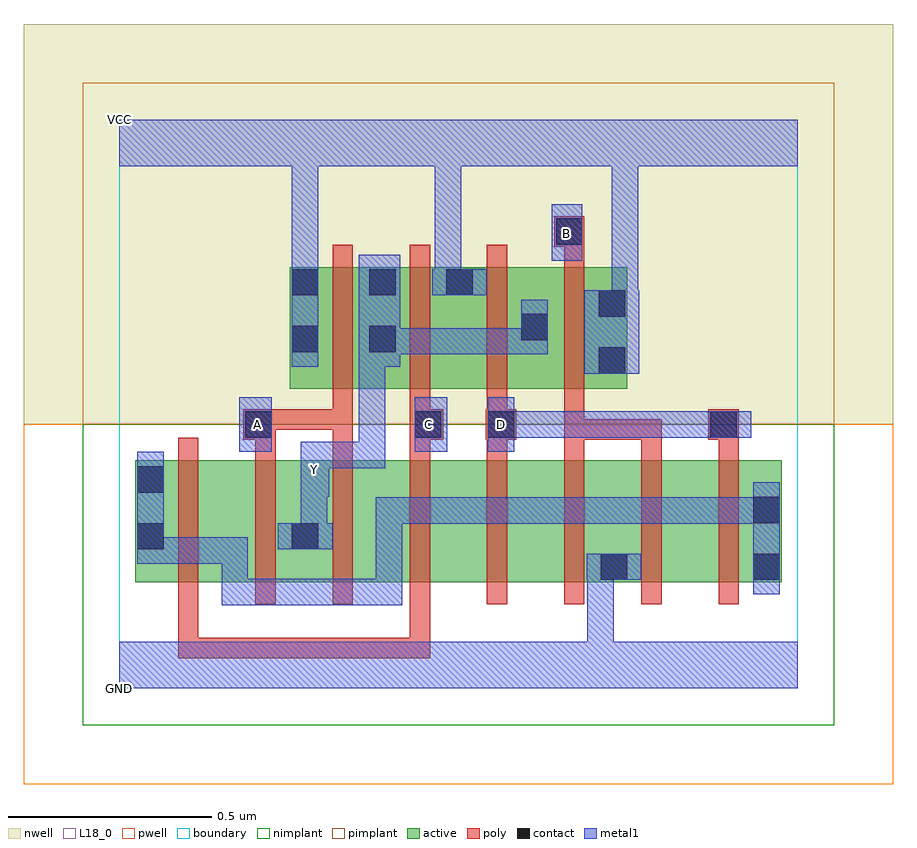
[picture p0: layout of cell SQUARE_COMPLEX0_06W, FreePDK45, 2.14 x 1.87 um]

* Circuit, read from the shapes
.subckt SQUARE_COMPLEX0_06W A B C D GND VCC Y
M1 n1 C n2 VSUBS nfet w=0.3u l=0.05u
M2 Y A n1 VSUBS nfet w=0.3u l=0.05u
M3 n3 A Y VSUBS nfet w=0.3u l=0.05u
M4 n4 C n3 VSUBS nfet w=0.3u l=0.05u
M5 n5 D n4 VSUBS nfet w=0.3u l=0.05u
M6 GND B n5 VSUBS nfet w=0.3u l=0.05u
M7 n6 B GND VSUBS nfet w=0.3u l=0.05u
M8 n2 D n6 VSUBS nfet w=0.3u l=0.05u
M9 Y A VCC n7 pfet w=0.3u l=0.05u
M10 VCC C Y n7 pfet w=0.3u l=0.05u
M11 Y D VCC n7 pfet w=0.3u l=0.05u
M12 VCC B Y n7 pfet w=0.3u l=0.05u
.ends

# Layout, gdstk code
import gdstk
lib = gdstk.Library(unit=1e-6, precision=1e-09)
def R(c, l, rs):  # rectangles x0, y0, x1, y1
    for r in rs: c.add(gdstk.rectangle(r[:2], r[2:], *l))
def A(c, l, x, y, w, h, nx, ny, dx, dy):  # array of equal rectangles
    R(c, l, [(x+i*dx, y+j*dy, x+i*dx+w, y+j*dy+h) for i in range(nx) for j in range(ny)])
active = (1, 0)
pwell = (2, 0)
nwell = (3, 0)
nimplant = (4, 0)
pimplant = (5, 0)
poly = (9, 0)
contact = (10, 0)
metal1 = (11, 0)
L18_0 = (18, 0)
boundary = (235, 0)

square_complex0_06w = lib.new_cell('SQUARE_COMPLEX0_06W')
R(square_complex0_06w, active, [(0.04,0.262,0.115,0.562), (0.04,0.262,0.265,0.562), (0.265,0.262,0.495,0.562), (0.42,0.262,0.645,0.562), (0.645,0.262,0.835,0.562), (0.835,0.262,1.025,0.562), (1.025,0.262,1.255,0.562), (1.18,0.262,1.405,0.562), (1.18,0.262,1.255,0.392), (1.405,0.262,1.63,0.562), (1.555,0.262,1.63,0.562), (0.42,0.295,0.495,0.562), (0.42,0.737,0.495,1.037), (0.42,0.737,0.685,1.037), (0.61,0.737,0.685,1.037), (0.61,0.737,0.875,1.037), (0.8,0.737,1.06,1.037), (0.985,0.737,1.06,1.037), (0.985,0.737,1.25,1.037), (1.175,0.737,1.25,1.037), (0.8,0.747,0.875,1.037)])
R(square_complex0_06w, pwell, [(-0.235,-0.235,1.905,0.65)])
R(square_complex0_06w, nwell, [(-0.235,0.65,1.905,1.635)])
R(square_complex0_06w, nimplant, [(-0.09,-0.09,1.76,0.65)])
R(square_complex0_06w, pimplant, [(-0.09,0.65,1.76,1.49)])
A(square_complex0_06w, poly, 0.145, 0.207, 0.05, 0.41, 8, 1, 0.19, 0)
A(square_complex0_06w, poly, 0.715, 0.567, 0.05, 0.095, 5, 1, 0.19, 0)
A(square_complex0_06w, poly, 0.525, 0.637, 0.05, 0.095, 3, 1, 0.19, 0)
A(square_complex0_06w, poly, 0.525, 0.682, 0.05, 0.41, 4, 1, 0.19, 0)
R(square_complex0_06w, poly, [(0.145,0.075,0.195,0.125), (0.145,0.075,0.195,0.257), (0.145,0.075,0.442,0.125), (0.392,0.075,0.442,0.125), (0.392,0.075,0.442,0.125), (0.392,0.075,0.442,0.125), (0.392,0.075,0.632,0.125), (0.582,0.075,0.632,0.125), (0.582,0.075,0.632,0.125), (0.582,0.075,0.632,0.125), (0.582,0.075,0.765,0.125), (0.715,0.075,0.765,0.125), (0.715,0.075,0.765,0.125), (0.715,0.075,0.765,0.125), (0.715,0.075,0.765,0.257), (0.335,0.567,0.385,0.662), (0.525,0.567,0.575,0.687), (0.305,0.612,0.385,0.687), (0.715,0.612,0.797,0.687), (0.902,0.612,0.977,0.687), (1.095,0.612,1.145,0.662), (1.095,0.612,1.335,0.662), (1.095,0.612,1.145,0.732), (1.285,0.612,1.335,0.662), (1.285,0.612,1.335,0.662), (1.285,0.612,1.335,0.662), (1.45,0.612,1.525,0.687), (0.335,0.637,0.575,0.687), (0.525,0.637,0.575,0.687), (0.525,0.637,0.575,0.687), (0.525,0.637,0.575,0.687), (1.095,1.042,1.145,1.137), (1.07,1.087,1.145,1.162)])
A(square_complex0_06w, contact, 0.425, 0.967, 0.065, 0.065, 3, 1, 0.19, 0)
R(square_complex0_06w, contact, [(1.185,0.267,1.25,0.332), (1.56,0.267,1.625,0.332), (0.045,0.342,0.11,0.407), (0.425,0.342,0.49,0.407), (1.56,0.407,1.625,0.472), (0.045,0.482,0.11,0.547), (0.31,0.617,0.375,0.682), (0.727,0.617,0.792,0.682), (0.907,0.617,0.972,0.682), (1.455,0.617,1.52,0.682), (1.18,0.775,1.245,0.84), (0.425,0.827,0.49,0.892), (0.615,0.827,0.68,0.892), (0.99,0.857,1.055,0.922), (1.18,0.915,1.245,0.98), (1.075,1.092,1.14,1.157)])
R(square_complex0_06w, metal1, [(0,0,1.67,0.115), (1.152,0.05,1.217,0.332), (0.252,0.205,0.317,0.27), (0.252,0.205,0.317,0.27), (0.252,0.205,0.317,0.27), (0.252,0.205,0.517,0.27), (0.252,0.205,0.317,0.372), (0.452,0.205,0.517,0.27), (0.452,0.205,0.517,0.27), (0.452,0.205,0.517,0.27), (0.452,0.205,0.697,0.27), (0.632,0.205,0.697,0.27), (0.632,0.205,0.697,0.47), (1.56,0.232,1.625,0.507), (1.15,0.267,1.285,0.332), (1.152,0.267,1.217,0.332), (1.152,0.267,1.217,0.332), (1.152,0.267,1.217,0.332), (1.152,0.267,1.217,0.332), (0.045,0.307,0.11,0.372), (0.045,0.307,0.11,0.372), (0.045,0.307,0.11,0.582), (0.045,0.307,0.317,0.372), (0.252,0.307,0.317,0.372), (0.39,0.342,0.525,0.407), (0.447,0.342,0.512,0.537), (0.632,0.405,0.697,0.47), (0.632,0.405,0.705,0.47), (0.64,0.405,0.705,0.47), (0.64,0.405,0.842,0.47), (0.777,0.405,0.842,0.47), (0.777,0.405,0.842,0.47), (0.777,0.405,0.842,0.47), (0.777,0.405,0.98,0.47), (0.915,0.405,0.98,0.47), (0.915,0.405,1.117,0.47), (1.052,0.405,1.117,0.47), (1.052,0.405,1.117,0.47), (1.052,0.405,1.117,0.47), (1.052,0.405,1.347,0.47), (1.282,0.405,1.347,0.47), (1.282,0.405,1.347,0.47), (1.282,0.405,1.347,0.47), (1.282,0.405,1.625,0.47), (1.56,0.405,1.625,0.47), (1.56,0.405,1.625,0.47), (0.447,0.472,0.517,0.607), (0.452,0.542,0.517,0.607), (0.452,0.542,0.517,0.607), (0.452,0.542,0.655,0.607), (0.59,0.542,0.655,0.607), (0.59,0.542,0.655,0.857), (0.295,0.582,0.375,0.717), (0.727,0.582,0.807,0.717), (0.907,0.582,0.972,0.717), (0.907,0.617,0.98,0.682), (0.915,0.617,0.98,0.682), (0.915,0.617,1.117,0.682), (1.052,0.617,1.117,0.682), (1.052,0.617,1.117,0.682), (1.052,0.617,1.117,0.682), (1.052,0.617,1.347,0.682), (1.282,0.617,1.347,0.682), (1.282,0.617,1.485,0.682), (1.42,0.617,1.485,0.682), (1.42,0.617,1.485,0.682), (1.42,0.617,1.555,0.682), (1.145,0.775,1.28,0.98), (0.425,0.792,0.49,1.067), (0.59,0.792,0.692,1.067), (0.627,0.822,0.705,0.887), (0.64,0.822,0.705,0.887), (0.64,0.822,0.842,0.887), (0.777,0.822,0.842,0.887), (0.777,0.822,0.842,0.887), (0.777,0.822,0.842,0.887), (0.777,0.822,1.055,0.887), (0.99,0.822,1.055,0.957), (1.212,0.915,1.277,0.98), (1.212,0.915,1.277,0.98), (1.212,0.915,1.277,1.35), (0.77,0.967,0.905,1.032), (0.777,0.967,0.842,1.032), (0.777,0.967,0.842,1.032), (0.777,0.967,0.842,1.35), (0.425,1.002,0.49,1.067), (0.425,1.002,0.49,1.067), (0.425,1.002,0.49,1.35), (1.065,1.052,1.14,1.192), (0,1.285,1.67,1.4), (0.425,1.285,0.49,1.35), (0.425,1.285,0.49,1.35), (0.777,1.285,0.842,1.35), (0.777,1.285,0.842,1.35), (1.212,1.285,1.277,1.35), (1.212,1.285,1.277,1.35)])
R(square_complex0_06w, L18_0, [(0,0,1.67,0.115), (1.152,0.05,1.217,0.332), (1.15,0.267,1.285,0.332), (1.152,0.267,1.217,0.332), (1.152,0.267,1.217,0.332), (1.152,0.267,1.217,0.332), (1.152,0.267,1.217,0.332), (0.39,0.342,0.525,0.407), (0.447,0.342,0.512,0.537), (0.447,0.472,0.517,0.607), (0.447,0.507,0.512,0.572), (0.452,0.542,0.517,0.607), (0.452,0.542,0.517,0.607), (0.452,0.542,0.655,0.607), (0.59,0.542,0.655,0.607), (0.59,0.542,0.655,0.857), (0.295,0.582,0.375,0.717), (0.727,0.582,0.807,0.717), (0.907,0.582,0.972,0.717), (0.307,0.617,0.372,0.682), (0.727,0.617,0.792,0.682), (0.907,0.617,0.972,0.682), (0.907,0.617,0.98,0.682), (0.915,0.617,0.98,0.682), (0.915,0.617,1.117,0.682), (1.052,0.617,1.117,0.682), (1.052,0.617,1.117,0.682), (1.052,0.617,1.117,0.682), (1.052,0.617,1.347,0.682), (1.282,0.617,1.347,0.682), (1.282,0.617,1.485,0.682), (1.42,0.617,1.555,0.682), (1.42,0.617,1.485,0.682), (1.42,0.617,1.485,0.682), (1.145,0.775,1.28,0.98), (0.425,0.792,0.49,1.067), (0.59,0.792,0.692,1.067), (0.627,0.822,0.705,0.887), (0.64,0.822,0.705,0.887), (0.64,0.822,0.842,0.887), (0.777,0.822,0.842,0.887), (0.777,0.822,0.842,0.887), (0.777,0.822,0.842,0.887), (0.777,0.822,1.055,0.887), (0.99,0.822,1.055,0.957), (1.212,0.915,1.277,0.98), (1.212,0.915,1.277,0.98), (1.212,0.915,1.277,1.35), (0.77,0.967,0.905,1.032), (0.777,0.967,0.842,1.032), (0.777,0.967,0.842,1.032), (0.777,0.967,0.842,1.35), (0.425,1.002,0.49,1.067), (0.425,1.002,0.49,1.067), (0.425,1.002,0.49,1.35), (1.065,1.052,1.14,1.192), (1.067,1.087,1.132,1.152), (0,1.285,1.67,1.4), (0.425,1.285,0.49,1.35), (0.425,1.285,0.49,1.35), (0.777,1.285,0.842,1.35), (0.777,1.285,0.842,1.35), (1.212,1.285,1.277,1.35), (1.212,1.285,1.277,1.35)])
R(square_complex0_06w, boundary, [(0,0,1.67,1.4)])
square_complex0_06w.add(gdstk.Label('A', (0.34,0.65), layer=11, texttype=0))
square_complex0_06w.add(gdstk.Label('B', (1.1,1.12), layer=11, texttype=0))
square_complex0_06w.add(gdstk.Label('C', (0.76,0.65), layer=11, texttype=0))
square_complex0_06w.add(gdstk.Label('D', (0.94,0.65), layer=11, texttype=0))
square_complex0_06w.add(gdstk.Label('Y', (0.48,0.54), layer=11, texttype=0))
square_complex0_06w.add(gdstk.Label('VCC', (0,1.4), layer=11, texttype=0))
square_complex0_06w.add(gdstk.Label('GND', (0,0), layer=11, texttype=0))

lib.write_gds('SQUARE_COMPLEX0_06W.gds')
